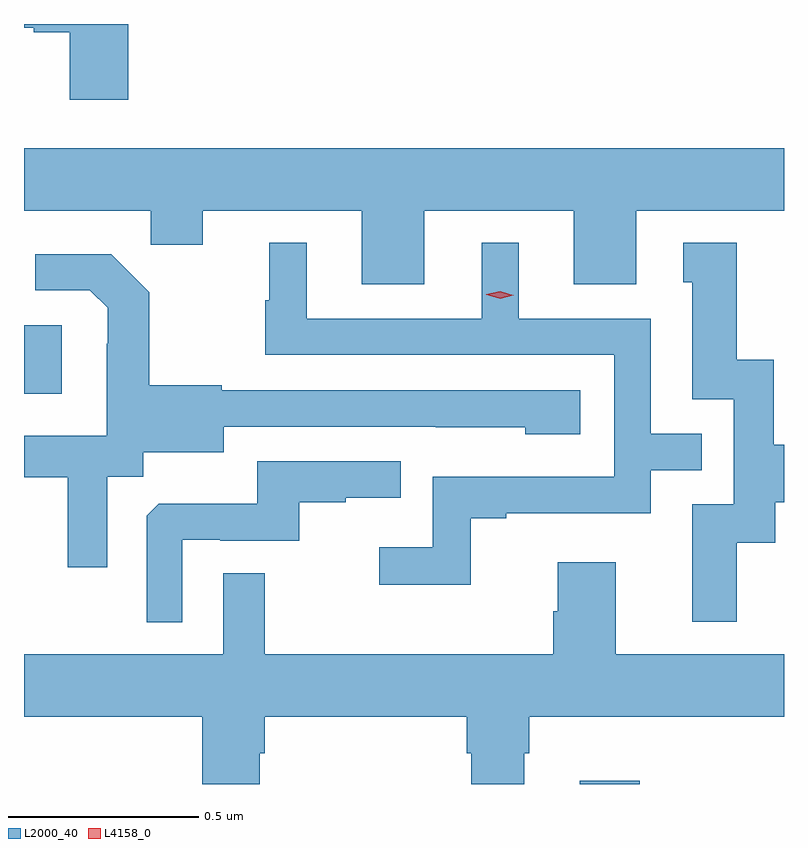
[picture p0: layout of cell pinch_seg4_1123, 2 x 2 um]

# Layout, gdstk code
import gdstk
lib = gdstk.Library(unit=1e-6, precision=1e-09)
def R(c, l, rs):  # rectangles x0, y0, x1, y1
    for r in rs: c.add(gdstk.rectangle(r[:2], r[2:], *l))
def P(c, l, *ps):  # polygons
    for p in ps: c.add(gdstk.Polygon(p, *l))
L2000_40 = (2000, 40)
L4158_0 = (4158, 0)

pinch_seg4_1123 = lib.new_cell('pinch_seg4_1123')
R(pinch_seg4_1123, L2000_40, [(398.216,829.943,398.375,829.951), (396.754,830.97,396.853,831.15)])
P(pinch_seg4_1123, L2000_40, [(397.028,831.943),(396.754,831.943),(396.754,831.933),(396.779,831.933),(396.779,831.921),(396.875,831.921),(396.875,831.744),(397.028,831.744)],
  [(397.807,831.452),(398.201,831.452),(398.201,831.258),(398.365,831.258),(398.365,831.452),(398.754,831.452),(398.754,831.616),(396.754,831.616),(396.754,831.452),(397.087,831.452),(397.087,831.362),(397.225,831.362),(397.225,831.452),(397.643,831.452),(397.643,831.258),(397.807,831.258)],
  [(398.629,830.578),(398.731,830.578),(398.731,830.684),(398.754,830.684),(398.754,830.836),(398.727,830.836),(398.727,831.059),(398.629,831.059),(398.629,831.367),(398.489,831.367),(398.489,831.264),(398.513,831.264),(398.513,830.955),(398.622,830.955),(398.622,830.679),(398.513,830.679),(398.513,830.37),(398.629,830.37)],
  [(397.929,830.643),(398.023,830.643),(398.023,830.655),(398.403,830.655),(398.403,830.769),(398.537,830.769),(398.537,830.865),(398.403,830.865),(398.403,831.168),(398.056,831.168),(398.056,831.367),(397.958,831.367),(397.958,831.168),(397.498,831.168),(397.498,831.367),(397.4,831.367),(397.4,831.216),(397.389,831.216),(397.389,831.072),(398.307,831.072),(398.307,830.751),(397.83,830.751),(397.83,830.566),(397.689,830.566),(397.689,830.468),(397.929,830.468)],
  [(396.973,830.752),(397.068,830.752),(397.068,830.816),(397.279,830.816),(397.279,830.883),(397.837,830.883),(397.837,830.882),(398.073,830.882),(398.073,830.864),(398.218,830.864),(398.218,830.979),(397.275,830.979),(397.275,830.992),(397.083,830.992),(397.083,831.237),(396.983,831.337),(396.783,831.337),(396.783,831.243),(396.927,831.243),(396.974,831.196),(396.974,831.101),(396.972,831.101),(396.972,830.86),(396.754,830.86),(396.754,830.75),(396.869,830.75),(396.869,830.514),(396.973,830.514)],
  [(397.17,830.586),(397.27,830.586),(397.27,830.583),(397.478,830.583),(397.478,830.685),(397.601,830.685),(397.601,830.696),(397.745,830.696),(397.745,830.793),(397.368,830.793),(397.368,830.681),(397.109,830.681),(397.077,830.649),(397.077,830.369),(397.17,830.369)],
  [(397.375,830.024),(397.388,830.024),(397.388,830.12),(397.919,830.12),(397.919,830.024),(397.931,830.024),(397.931,829.943),(398.071,829.943),(398.071,830.024),(398.084,830.024),(398.084,830.12),(398.754,830.12),(398.754,830.284),(398.311,830.284),(398.311,830.527),(398.159,830.527),(398.159,830.397),(398.147,830.397),(398.147,830.284),(397.387,830.284),(397.387,830.498),(397.278,830.498),(397.278,830.284),(396.754,830.284),(396.754,830.12),(397.223,830.12),(397.223,829.943),(397.375,829.943)])
P(pinch_seg4_1123, L4158_0, [(398.007,831.22),(397.971,831.231),(397.971,831.232),(397.971,831.232),(398.007,831.24),(398.042,831.229),(398.043,831.229),(398.042,831.229)])

lib.write_gds('pinch_seg4_1123.gds')
